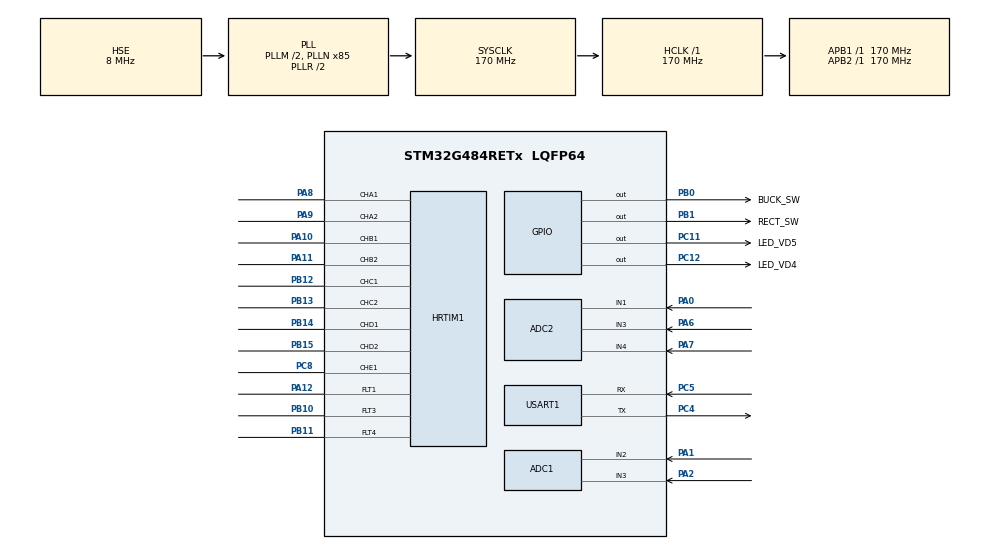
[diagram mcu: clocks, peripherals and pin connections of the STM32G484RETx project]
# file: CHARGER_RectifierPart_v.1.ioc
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NVIC.ADC1_2_IRQn=true\:0\:0\:false\:false\:true\:true\:true
VP_TIM5_VS_ClockSourceINT.Mode=Internal
Dma.HRTIM1_A.4.EventEnable=DISABLE
ADC2.SamplingTime-1\#ChannelRegularConversion=ADC_SAMPLETIME_2CYCLES_5
PB10.Mode=Fault_Enable3
Dma.HRTIM1_A.4.SyncEnable=DISABLE
Dma.USART1_TX.3.MemInc=DMA_MINC_ENABLE
PC12.Signal=GPIO_Output
Dma.USART1_RX.2.Instance=DMA1_Channel2
HRTIM1.CompareUnit2-Output_TA1TA2=HRTIM_COMPAREUNIT_2
PC5.Mode=Asynchronous
HRTIM1.NumberSetSource1-Output_TD1TD2=1
PB13.Signal=HRTIM1_CHC2
Dma.USART1_RX.2.SyncEnable=DISABLE
RCC.SYSCLKSource=RCC_SYSCLKSOURCE_PLLCLK
Dma.HRTIM1_E.1.MemInc=DMA_MINC_ENABLE
Dma.USART1_TX.3.SyncSignalID=NONE
Dma.ADC2.8.EventEnable=DISABLE
NVIC.DMA1_Channel3_IRQn=true\:0\:0\:false\:false\:true\:false\:true
NVIC.HRTIM1_TIME_IRQn=true\:0\:0\:false\:false\:true\:true\:true
HRTIM1.NumberFaultEnable-Output_TD1TD2=3
HRTIM1.DeadTimeInsertion-Output_TC1TC2=HRTIM_TIMDEADTIMEINSERTION_ENABLED
HRTIM1.CompareUnit3-Output_TA1TA2=HRTIM_COMPAREUNIT_3
HRTIM1.NumberResetSource1-Output_TA1TA2=1
NVIC.TIM5_IRQn=true\:0\:0\:false\:false\:true\:true\:true
RCC.APB2TimFreq_Value=170000000
Dma.ADC1.0.Direction=DMA_PERIPH_TO_MEMORY
HRTIM1.SetOutput2_Source1-Output_TC1TC2=HRTIM_OUTPUTSET_TIMPER
ADC1.Channel-2\#ChannelRegularConversion=ADC_CHANNEL_2
Dma.USART1_TX.3.Mode=DMA_NORMAL
Dma.HRTIM1_C.6.Polarity=HAL_DMAMUX_REQ_GEN_RISING
HRTIM1.ResetOutput1_Source1-Output_TA1TA2=HRTIM_OUTPUTRESET_TIMCMP1
Dma.ADC1.0.MemDataAlignment=DMA_MDATAALIGN_WORD
Dma.USART1_RX.2.SignalID=NONE
HRTIM1.NumberDMARequests_TE=1
HRTIM1.NumberDMARequests_TC=1
PB3.Mode=JTAG_5_pins
HRTIM1.NumberDMARequests_TD=1
HRTIM1.NumberDMARequests_TA=1
HRTIM1.NumberDMARequests_TB=1
Dma.USART1_RX.2.SyncRequestNumber=1
RCC.ADC12Freq_Value=170000000
Dma.ADC2.8.SyncSignalID=NONE
Dma.HRTIM1_B.5.SignalID=NONE
Dma.HRTIM1_A.4.SyncRequestNumber=1
Dma.HRTIM1_E.1.Polarity=HAL_DMAMUX_REQ_GEN_RISING
Dma.HRTIM1_C.6.MemInc=DMA_MINC_ENABLE
Dma.HRTIM1_A.4.PeriphDataAlignment=DMA_PDATAALIGN_HALFWORD
PB14.Mode=Output_TD1TD2
Dma.ADC1.0.PeriphInc=DMA_PINC_DISABLE
PB1.GPIO_Label=RECT_SW
NVIC.TIM2_IRQn=true\:0\:0\:false\:false\:true\:true\:true
PA0.Mode=IN1-Single-Ended
Dma.HRTIM1_A.4.MemDataAlignment=DMA_MDATAALIGN_HALFWORD
Dma.HRTIM1_E.1.SyncPolarity=HAL_DMAMUX_SYNC_NO_EVENT
PA8.Signal=HRTIM1_CHA1
Dma.ADC2.8.PeriphInc=DMA_PINC_DISABLE
HRTIM1.NumberFaultEnable-Output_TB1TB2=3
VP_TIM1_VS_ClockSourceINT.Mode=Internal
NVIC.HRTIM1_TIMA_IRQn=true\:0\:0\:false\:false\:true\:true\:true
Dma.USART1_TX.3.Instance=DMA1_Channel3
PA0.Signal=ADC2_IN1
HRTIM1.DeadTimeInsertion-Output_TA1TA2=HRTIM_TIMDEADTIMEINSERTION_ENABLED
Mcu.Package=LQFP64
TIM2.Prescaler=16
PB1.Signal=GPIO_Output
ADC1.OversamplingMode=ENABLE
HRTIM1.ResetOutput1_Source1-Output_TB1TB2=HRTIM_OUTPUTRESET_TIMCMP1
ADC2.Channel-1\#ChannelRegularConversion=ADC_CHANNEL_3
PA10.Signal=HRTIM1_CHB1
Dma.HRTIM1_E.1.PeriphInc=DMA_PINC_DISABLE
Dma.USART1_TX.3.SyncRequestNumber=1
HRTIM1.NumberADCTriggerSource1=1
Dma.HRTIM1_A.4.MemInc=DMA_MINC_ENABLE
HRTIM1.NumberFaultEnable-Output_TC1TC2=3
RCC.APB1TimFreq_Value=170000000
Dma.USART1_RX.2.Polarity=HAL_DMAMUX_REQ_GEN_RISING
HRTIM1.DeadTimeInsertion-Output_TB1TB2=HRTIM_TIMDEADTIMEINSERTION_ENABLED
ADC2.Rank-2\#ChannelRegularConversion=3
PB13.Mode=Output_TC1TC2
NVIC.DMA1_Channel4_IRQn=true\:0\:0\:false\:false\:true\:false\:true
Dma.HRTIM1_B.5.PeriphDataAlignment=DMA_PDATAALIGN_HALFWORD
NVIC.USART1_IRQn=true\:0\:0\:false\:false\:true\:true\:true
PF1-OSC_OUT.Signal=RCC_OSC_OUT
Dma.ADC1.0.EventEnable=DISABLE
Dma.ADC2.8.MemDataAlignment=DMA_MDATAALIGN_WORD
PC4.Mode=Asynchronous
RCC.HSI48_VALUE=48000000
Dma.HRTIM1_A.4.Direction=DMA_MEMORY_TO_PERIPH
Dma.HRTIM1_C.6.PeriphInc=DMA_PINC_DISABLE
NVIC.DMA1_Channel6_IRQn=true\:0\:0\:false\:false\:true\:false\:true
HRTIM1.CompareUnit1-Output_TB1TB2=HRTIM_COMPAREUNIT_1
Dma.ADC2.8.Priority=DMA_PRIORITY_LOW
HRTIM1.CompareUnit2-Output_TC1TC2=HRTIM_COMPAREUNIT_2
Dma.ADC1.0.Instance=DMA1_Channel1
Dma.ADC2.8.SignalID=NONE
HRTIM1.CompareUnit3-Output_TD1TD2=HRTIM_COMPAREUNIT_3
HRTIM1.NumberSetSource1-Output_TB1TB2=1
Dma.ADC1.0.SyncRequestNumber=1
Dma.HRTIM1_E.1.Direction=DMA_MEMORY_TO_PERIPH
Dma.HRTIM1_C.6.Priority=DMA_PRIORITY_LOW
Dma.HRTIM1_E.1.PeriphDataAlignment=DMA_PDATAALIGN_WORD
HRTIM1.Deadtimeconfig-Output_TC1TC2=HRTIM_TIMERINDEX_TIMER_C
HRTIM1.PreloadEnable-Output_TB1TB2=HRTIM_PRELOAD_ENABLED
Dma.HRTIM1_B.5.MemDataAlignment=DMA_MDATAALIGN_HALFWORD
HRTIM1.NumberSetSource2_TC=0
Dma.USART1_RX.2.SyncPolarity=HAL_DMAMUX_SYNC_NO_EVENT
Dma.ADC2.8.RequestNumber=1
Dma.ADC2.8.SyncRequestNumber=1
NVIC.DMA1_Channel8_IRQn=true\:0\:0\:false\:false\:true\:false\:true
PB11.Mode=Fault_Enable4
HRTIM1.PreloadEnable-Output_TA1TA2=HRTIM_PRELOAD_ENABLED
Dma.HRTIM1_D.7.MemInc=DMA_MINC_ENABLE
Dma.HRTIM1_A.4.Polarity=HAL_DMAMUX_REQ_GEN_RISING
Dma.USART1_RX.2.Mode=DMA_CIRCULAR
Dma.ADC1.0.SignalID=NONE
Dma.ADC1.0.Priority=DMA_PRIORITY_LOW
PA9.Signal=HRTIM1_CHA2
Dma.HRTIM1_A.4.SyncSignalID=NONE
HRTIM1.CompareUnit1-Output_TC1TC2=HRTIM_COMPAREUNIT_1
ADC2.OffsetNumber-1\#ChannelRegularConversion=ADC_OFFSET_NONE
PB10.Signal=HRTIM1_FLT3
PB14.Signal=HRTIM1_CHD1
ADC2.OffsetNumber-0\#ChannelRegularConversion=ADC_OFFSET_NONE
Dma.USART1_TX.3.RequestNumber=1
Dma.HRTIM1_C.6.PeriphDataAlignment=DMA_PDATAALIGN_WORD
NVIC.TIM1_BRK_TIM15_IRQn=true\:0\:0\:false\:false\:true\:true\:true
Dma.HRTIM1_C.6.MemDataAlignment=DMA_MDATAALIGN_WORD
NVIC.HRTIM1_Master_IRQn=true\:0\:0\:false\:false\:true\:true\:true
Dma.USART1_RX.2.Priority=DMA_PRIORITY_LOW
ADC2.Channel-2\#ChannelRegularConversion=ADC_CHANNEL_4
NVIC.TIM3_IRQn=true\:0\:0\:false\:false\:true\:true\:true
Dma.HRTIM1_B.5.Direction=DMA_MEMORY_TO_PERIPH
RCC.ADC345Freq_Value=170000000
Dma.USART1_RX.2.Direction=DMA_PERIPH_TO_MEMORY
PA1.Mode=IN2-Single-Ended
Dma.HRTIM1_B.5.SyncRequestNumber=1
HRTIM1.CompareUnit1-Output_TA1TA2=HRTIM_COMPAREUNIT_1
NVIC.HRTIM1_TIMB_IRQn=true\:0\:0\:false\:false\:true\:true\:true
HRTIM1.CompareUnit2-Output_TB1TB2=HRTIM_COMPAREUNIT_2
HRTIM1.CompareUnit3-Output_TC1TC2=HRTIM_COMPAREUNIT_3
ADC1.DMAContinuousRequests=ENABLE
PA13.Mode=JTAG_5_pins
Dma.HRTIM1_B.5.RequestNumber=1
Dma.USART1_RX.2.MemInc=DMA_MINC_ENABLE
Dma.HRTIM1_C.6.Direction=DMA_MEMORY_TO_PERIPH
Dma.USART1_TX.3.Priority=DMA_PRIORITY_LOW
NVIC.HRTIM1_TIMD_IRQn=true\:0\:0\:false\:false\:true\:true\:true
NVIC.TIM1_CC_IRQn=true\:0\:0\:false\:false\:true\:true\:true
PC8.Mode=Output_TE1
ADC2.RightBitShift=ADC_RIGHTBITSHIFT_4
Dma.HRTIM1_D.7.SyncSignalID=NONE
HRTIM1.DeadTimeInsertion-Output_TD1TD2=HRTIM_TIMDEADTIMEINSERTION_ENABLED
ADC1.master=1
ADC2.NbrOfConversionFlag=1
PC12.GPIO_Label=LED_VD4
Dma.ADC1.0.RequestNumber=1
Dma.HRTIM1_D.7.EventEnable=DISABLE
PA11.Signal=HRTIM1_CHB2
Dma.HRTIM1_B.5.Mode=DMA_NORMAL
NVIC.DMA2_Channel1_IRQn=true\:0\:0\:false\:false\:true\:false\:true
ProjectManager.HeapSize=0x200
ADC2.OversamplingMode=ENABLE
VP_TIM4_VS_ClockSourceINT.Mode=Internal
Dma.HRTIM1_E.1.SignalID=NONE
NVIC.PriorityGroup=NVIC_PRIORITYGROUP_4
HRTIM1.NumberSetSource1-Output_TC1TC2=1
ADC1.EnableRegularConversion=ENABLE
Dma.USART1_TX.3.SignalID=NONE
PA8.Mode=Output_TA1TA2
Dma.HRTIM1_B.5.Instance=DMA1_Channel5
NVIC.DMA1_Channel1_IRQn=true\:0\:0\:false\:false\:true\:false\:true
PF0-OSC_IN.Signal=RCC_OSC_IN
Dma.HRTIM1_D.7.PeriphInc=DMA_PINC_DISABLE
Dma.USART1_TX.3.SyncPolarity=HAL_DMAMUX_SYNC_NO_EVENT
Dma.USART1_TX.3.EventEnable=DISABLE
Dma.HRTIM1_D.7.Polarity=HAL_DMAMUX_REQ_GEN_RISING
Dma.HRTIM1_A.4.SyncPolarity=HAL_DMAMUX_SYNC_NO_EVENT
HRTIM1.CompareUnit3-Output_TB1TB2=HRTIM_COMPAREUNIT_3
PB0.Signal=GPIO_Output
Dma.HRTIM1_A.4.Priority=DMA_PRIORITY_LOW
TIM1.PeriodNoDither=499
Dma.HRTIM1_E.1.Priority=DMA_PRIORITY_LOW
Mcu.Family=STM32G4
HRTIM1.PreloadEnable-Output_TD1TD2=HRTIM_PRELOAD_ENABLED
Dma.USART1_RX.2.EventEnable=DISABLE
ADC1.RightBitShift=ADC_RIGHTBITSHIFT_4
PA6.Mode=IN3-Single-Ended
ADC2.OffsetNumber-2\#ChannelRegularConversion=ADC_OFFSET_NONE
RCC.CortexFreq_Value=170000000
HRTIM1.DMARequests1-Output_TA1TA2=HRTIM_TIM_DMA_UPD
NVIC.DMA1_Channel5_IRQn=true\:0\:0\:false\:false\:true\:false\:true
ADC1.ContinuousConvMode=ENABLE
ADC2.Channel-0\#ChannelRegularConversion=ADC_CHANNEL_1
Dma.ADC1.0.Polarity=HAL_DMAMUX_REQ_GEN_RISING
Dma.USART1_TX.3.MemDataAlignment=DMA_MDATAALIGN_BYTE
Dma.HRTIM1_A.4.SignalID=NONE
Dma.HRTIM1_E.1.SyncEnable=DISABLE
VP_IWDG_VS_IWDG.Mode=IWDG_Activate
Dma.USART1_TX.3.Direction=DMA_MEMORY_TO_PERIPH
Dma.HRTIM1_D.7.Instance=DMA1_Channel8
HRTIM1.ResetOutput2_Source1-Output_TC1TC2=HRTIM_OUTPUTRESET_TIMCMP1
PA11.Mode=Output_TB1TB2
PB0.GPIO_Label=BUCK_SW
HRTIM1.FaultEnable_Source2-Output_TD1TD2=HRTIM_TIMFAULTENABLE_FAULT3
PB11.Signal=HRTIM1_FLT4
Dma.USART1_RX.2.SyncSignalID=NONE
PB15.Signal=HRTIM1_CHD2
Dma.HRTIM1_E.1.RequestNumber=1
ProjectManager.StackSize=0x400
Dma.USART1_TX.3.SyncEnable=DISABLE
ADC2.Ratio=ADC_OVERSAMPLING_RATIO_16
PA12.Signal=HRTIM1_FLT1
TIM1.Prescaler=16
HRTIM1.SetOutput1_Source1-Output_TA1TA2=HRTIM_OUTPUTSET_TIMPER
ADC2.DMAContinuousRequests=ENABLE
Dma.HRTIM1_A.4.RequestNumber=1
ADC1.Channel-3\#ChannelRegularConversion=ADC_CHANNEL_3
RCC.HCLKFreq_Value=170000000
Dma.ADC2.8.Polarity=HAL_DMAMUX_REQ_GEN_RISING
Dma.HRTIM1_A.4.Instance=DMA1_Channel4
HRTIM1.ResetOutput1_Source1-Output_TD1TD2=HRTIM_OUTPUTRESET_TIMCMP1
RCC.AHBFreq_Value=170000000
NVIC.HRTIM1_FLT_IRQn=true\:0\:0\:false\:false\:true\:true\:true
Dma.HRTIM1_D.7.SyncRequestNumber=1
Dma.HRTIM1_D.7.SignalID=NONE
Dma.ADC2.8.MemInc=DMA_MINC_ENABLE
RCC.HSE_VALUE=8000000
Dma.USART1_TX.3.Polarity=HAL_DMAMUX_REQ_GEN_RISING
PA15.Mode=JTAG_5_pins
HRTIM1.NumberSetSource1-Output_TA1TA2=1
NVIC.TIM1_TRG_COM_TIM17_IRQn=true\:0\:0\:false\:false\:true\:true\:true
TIM2.PeriodNoDither=499
ADC1.Rank-2\#ChannelRegularConversion=1
PB4.Mode=JTAG_5_pins
Dma.HRTIM1_B.5.SyncPolarity=HAL_DMAMUX_SYNC_NO_EVENT
PA14.Mode=JTAG_5_pins
TIM3.Prescaler=169
Dma.USART1_TX.3.PeriphInc=DMA_PINC_DISABLE
HRTIM1.HRTIMInterruptResquests3=HRTIM_IT_FLT4
PC11.GPIO_Label=LED_VD5
Dma.HRTIM1_D.7.Priority=DMA_PRIORITY_LOW
HRTIM1.HRTIMInterruptResquests1=HRTIM_IT_FLT1
HRTIM1.HRTIMInterruptResquests2=HRTIM_IT_FLT3
HRTIM1.FaultEnable_Source1-Output_TD1TD2=HRTIM_TIMFAULTENABLE_FAULT1
VP_SYS_VS_DBSignals.Mode=DisableDeadBatterySignals
HRTIM1.DMARequests1-Output_TB1TB2=HRTIM_TIM_DMA_UPD
HRTIM1.FaultEnable_Source3-Output_TC1TC2=HRTIM_TIMFAULTENABLE_FAULT4
Dma.HRTIM1_D.7.SyncPolarity=HAL_DMAMUX_SYNC_NO_EVENT
Dma.ADC2.8.Instance=DMA2_Channel1
Dma.HRTIM1_B.5.SyncEnable=DISABLE
Dma.HRTIM1_D.7.MemDataAlignment=DMA_MDATAALIGN_WORD
HRTIM1.RepetitionCounter-Output_TA1TA2=0x00
PA6.Signal=ADC2_IN3
PB12.Mode=Output_TC1TC2
HRTIM1.CompareUnit2-Output_TD1TD2=HRTIM_COMPAREUNIT_2
HRTIM1.FaultEnable_Source1-Output_TB1TB2=HRTIM_TIMFAULTENABLE_FAULT1
HRTIM1.FaultEnable_Source2-Output_TC1TC2=HRTIM_TIMFAULTENABLE_FAULT3
HRTIM1.FaultEnable_Source3-Output_TD1TD2=HRTIM_TIMFAULTENABLE_FAULT4
PA15.Signal=SYS_JTDI
ADC2.SamplingTime-0\#ChannelRegularConversion=ADC_SAMPLETIME_2CYCLES_5
Dma.HRTIM1_E.1.SyncRequestNumber=1
TIM3.PeriodNoDither=999
HRTIM1.ResetOutput1_Source1-Output_TC1TC2=HRTIM_OUTPUTRESET_TIMCMP1
Dma.HRTIM1_B.5.Polarity=HAL_DMAMUX_REQ_GEN_RISING
HRTIM1.CompareUnit1-Output_TD1TD2=HRTIM_COMPAREUNIT_1
Dma.HRTIM1_C.6.Mode=DMA_CIRCULAR
ADC2.SamplingTime-2\#ChannelRegularConversion=ADC_SAMPLETIME_2CYCLES_5
ADC2.NbrOfConversion=3
Dma.Request2=USART1_RX
Dma.Request1=HRTIM1_E
Dma.Request4=HRTIM1_A
Dma.Request3=USART1_TX
Dma.Request6=HRTIM1_C
Dma.Request5=HRTIM1_B
Dma.Request8=ADC2
PC5.Signal=USART1_RX
Dma.Request7=HRTIM1_D
Dma.HRTIM1_B.5.MemInc=DMA_MINC_ENABLE
Dma.HRTIM1_C.6.RequestNumber=1
HRTIM1.FaultEnable_Source1-Output_TC1TC2=HRTIM_TIMFAULTENABLE_FAULT1
ADC2.Rank-0\#ChannelRegularConversion=1
Dma.HRTIM1_E.1.MemDataAlignment=DMA_MDATAALIGN_WORD
PF1-OSC_OUT.Mode=HSE-External-Oscillator
Dma.Request0=ADC1
HRTIM1.NumberResetSource2_TC=0
HRTIM1.PreloadEnable-Output_TC1TC2=HRTIM_PRELOAD_ENABLED
VP_TIM3_VS_ClockSourceINT.Mode=Internal
Dma.USART1_RX.2.MemDataAlignment=DMA_MDATAALIGN_BYTE
PB4.Signal=SYS_JTRST
Dma.HRTIM1_A.4.Mode=DMA_NORMAL
Dma.HRTIM1_D.7.Direction=DMA_MEMORY_TO_PERIPH
Dma.HRTIM1_E.1.Mode=DMA_CIRCULAR
RCC.PLLSourceVirtual=RCC_PLLSOURCE_HSE
HRTIM1.NumberFaultEnable-Output_TA1TA2=3
Dma.ADC2.8.Mode=DMA_CIRCULAR
Dma.HRTIM1_C.6.SignalID=NONE
PA7.Mode=IN4-Single-Ended
HRTIM1.FaultLevel1-Output_TA1TA2=HRTIM_OUTPUTFAULTLEVEL_INACTIVE
PA10.Mode=Output_TB1TB2
PC11.Signal=GPIO_Output
TIM4.PeriodNoDither=999
ADC1.OffsetNumber-3\#ChannelRegularConversion=ADC_OFFSET_NONE
PC8.Signal=HRTIM1_CHE1
Dma.HRTIM1_B.5.PeriphInc=DMA_PINC_DISABLE
PC4.Signal=USART1_TX
Dma.HRTIM1_C.6.EventEnable=DISABLE
RCC.EXTERNAL_CLOCK_VALUE=12288000
HRTIM1.FaultEnable_Source2-Output_TA1TA2=HRTIM_TIMFAULTENABLE_FAULT3
Dma.HRTIM1_C.6.SyncEnable=DISABLE
Dma.HRTIM1_E.1.SyncSignalID=NONE
Dma.USART1_RX.2.PeriphInc=DMA_PINC_DISABLE
ADC1.SamplingTime-2\#ChannelRegularConversion=ADC_SAMPLETIME_2CYCLES_5
Dma.HRTIM1_D.7.RequestNumber=1
HRTIM1.PrescalerRatio_TE=HRTIM_PRESCALERRATIO_MUL16
HRTIM1.SetOutput1_Source1-Output_TB1TB2=HRTIM_OUTPUTSET_TIMPER
USART1.VirtualMode-Asynchronous=VM_ASYNC
PA13.Signal=SYS_JTMS-SWDIO
Dma.HRTIM1_C.6.SyncSignalID=NONE
Dma.ADC1.0.PeriphDataAlignment=DMA_PDATAALIGN_WORD
HRTIM1.DMARequests1-Output_TC1TC2=HRTIM_TIM_DMA_UPD
PA9.Mode=Output_TA1TA2
HRTIM1.FaultEnable_Source1-Output_TA1TA2=HRTIM_TIMFAULTENABLE_FAULT1
Dma.HRTIM1_B.5.SyncSignalID=NONE
NVIC.DMA1_Channel2_IRQn=true\:0\:0\:false\:false\:true\:false\:true
ProjectManager.TargetToolchain=STM32CubeIDE
Dma.ADC1.0.Mode=DMA_CIRCULAR
Dma.HRTIM1_C.6.Instance=DMA1_Channel7
HRTIM1.FaultEnable_Source2-Output_TB1TB2=HRTIM_TIMFAULTENABLE_FAULT3
Dma.ADC1.0.SyncSignalID=NONE
Dma.USART1_RX.2.PeriphDataAlignment=DMA_PDATAALIGN_BYTE
Dma.USART1_TX.3.PeriphDataAlignment=DMA_PDATAALIGN_BYTE
HRTIM1.NumberResetSource1-Output_TD1TD2=1
RCC.USBFreq_Value=170000000
ADC1.Ratio=ADC_OVERSAMPLING_RATIO_16
TIM4.Prescaler=169
RCC.LSE_VALUE=32768
PA1.Signal=ADC1_IN2
PF0-OSC_IN.Mode=HSE-External-Oscillator
HRTIM1.FaultEnable_Source3-Output_TB1TB2=HRTIM_TIMFAULTENABLE_FAULT4
Dma.HRTIM1_E.1.Instance=DMA1_Channel6
HRTIM1.ADCTrigger_Id1=HRTIM_ADCTRIGGER_1
board=custom
Dma.ADC2.8.SyncPolarity=HAL_DMAMUX_SYNC_NO_EVENT
HRTIM1.FaultEnable_Source3-Output_TA1TA2=HRTIM_TIMFAULTENABLE_FAULT4
RCC.VCOOutputFreq_Value=340000000
PB15.Mode=Output_TD1TD2
Dma.ADC1.0.SyncPolarity=HAL_DMAMUX_SYNC_NO_EVENT
HRTIM1.FaultLevel2-Output_TA1TA2=HRTIM_OUTPUTFAULTLEVEL_INACTIVE
RCC.APB2Freq_Value=170000000
Dma.ADC2.8.PeriphDataAlignment=DMA_PDATAALIGN_WORD
VP_TIM2_VS_ClockSourceINT.Mode=Internal
Dma.HRTIM1_B.5.Priority=DMA_PRIORITY_LOW
Dma.HRTIM1_C.6.SyncPolarity=HAL_DMAMUX_SYNC_NO_EVENT
HRTIM1.SetOutput1_Source1-Output_TD1TD2=HRTIM_OUTPUTSET_TIMPER
Dma.HRTIM1_D.7.Mode=DMA_CIRCULAR
ADC1.NbrOfConversion=2
ADC1.OffsetNumber-2\#ChannelRegularConversion=ADC_OFFSET_NONE
Mcu.Name=STM32G484RETx
PA2.Signal=ADC1_IN3
Dma.HRTIM1_B.5.EventEnable=DISABLE
TIM5.PeriodNoDither=999
HRTIM1.NumberResetSource1-Output_TC1TC2=1
PB3.Signal=SYS_JTDO-SWO
RCC.SYSCLKFreq_VALUE=170000000
PA12.Mode=Fault_Enable1
HRTIM1.NumberResetSource1-Output_TB1TB2=1
ADC1.SamplingTime-3\#ChannelRegularConversion=ADC_SAMPLETIME_2CYCLES_5
ADC1.Rank-3\#ChannelRegularConversion=2
Dma.ADC2.8.Direction=DMA_PERIPH_TO_MEMORY
TIM5.Prescaler=169
Dma.HRTIM1_D.7.SyncEnable=DISABLE
Dma.HRTIM1_A.4.PeriphInc=DMA_PINC_DISABLE
Dma.ADC1.0.SyncEnable=DISABLE
Dma.ADC1.0.MemInc=DMA_MINC_ENABLE
PA14.Signal=SYS_JTCK-SWCLK
VP_WWDG_VS_WWDG.Mode=WWDG_Activate
RCC.HSI_VALUE=16000000
NVIC.TIM1_UP_TIM16_IRQn=true\:0\:0\:false\:false\:true\:true\:true
ADC1.NbrOfConversionFlag=1
RCC.PLLM=RCC_PLLM_DIV2
HRTIM1.DMARequests1-Output_TD1TD2=HRTIM_TIM_DMA_UPD
RCC.PLLN=85
ADC2.Rank-1\#ChannelRegularConversion=2
PA2.Mode=IN3-Single-Ended
Dma.ADC2.8.SyncEnable=DISABLE
NVIC.FPU_IRQn=true\:0\:0\:false\:false\:true\:true\:false
NVIC.DMA1_Channel7_IRQn=true\:0\:0\:false\:false\:true\:false\:true
NVIC.HRTIM1_TIMC_IRQn=true\:0\:0\:false\:false\:true\:true\:true
NVIC.TIM4_IRQn=true\:0\:0\:false\:false\:true\:true\:true
RCC.APB1Freq_Value=170000000
HRTIM1.SetOutput1_Source1-Output_TC1TC2=HRTIM_OUTPUTSET_TIMPER
HRTIM1.Periode_TA=28936
HRTIM1.Periode_TB=28936
Dma.HRTIM1_D.7.PeriphDataAlignment=DMA_PDATAALIGN_WORD
HRTIM1.Periode_TC=28936
Dma.HRTIM1_C.6.SyncRequestNumber=1
HRTIM1.Periode_TD=28936
PB12.Signal=HRTIM1_CHC1
Dma.HRTIM1_E.1.EventEnable=DISABLE
HRTIM1.Periode_TE=38857
Dma.USART1_RX.2.RequestNumber=1
PA7.Signal=ADC2_IN4

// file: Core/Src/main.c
/* USER CODE BEGIN Header */
/**
  ******************************************************************************
  * @file           : main.c
  * @brief          : Main program body
  ******************************************************************************
  * @attention
  *
  * <h2><center>&copy; Copyright (c) 2021 STMicroelectronics.
  * All rights reserved.</center></h2>
  *
  * This software component is licensed by ST under BSD 3-Clause license,
  * the "License"; You may not use this file except in compliance with the
  * License. You may obtain a copy of the License at:
  *                        opensource.org/licenses/BSD-3-Clause
  *
  ******************************************************************************
  */
/* USER CODE END Header */
#include "main.h"
#include "adc.h"
#include "dma.h"
#include "hrtim.h"
#include "hrtim.h"
#include "iwdg.h"
#include "tim.h"
#include "usart.h"
#include "wwdg.h"
#include "gpio.h"

/* USER CODE BEGIN Includes */

#include "Application_Conf.h"
#include "DPC_Timeout.h"
#include "ControlFunc.h"
#include "PWM_Functions.h"
/* USER CODE END Includes */

/* USER CODE BEGIN PD */
#define LoWord(param) ((unsigned *)&param)[0]
#define HiWord(param) ((unsigned *)&param)[1]

#define Lowest(param) ((uint8_t *)&param)[0]
#define Lo(param) 	  ((uint8_t *)&param)[1]
#define Hi(param) 	  ((uint8_t *)&param)[2]
#define Highest(param)((uint8_t *)&param)[3]
/* USER CODE END PD */

/* USER CODE BEGIN PV */
PID_Control_Struct PID_CONF_StartUp;

PID_Control_Struct UDC_LIMIT_PID;
PID_Control_Struct IDC_LIMIT_PID;

static DMA_PWMDUTY_STRUCT DMA_HRTIM_SRC;
static DMA_UART_STRUCT DMA_UART_SRC;

extern RAW_ADC_Struct Raw_ADC;
extern RAW_ADC_Struct Raw_DMA;

ADC_Conf_TypeDef ADC_Conf;
Cooked_ADC_Struct VDC_ADC_IN_PHY;

uint16_t StartUp;
float PID_Result;
float PID_Result_V;
float PID_Result_I;
float PWM;
uint32_t p_ADC1_Data[ADC1_CHs];
uint32_t p_ADC2_Data[ADC2_CHs];

volatile FlagStatus Calc_Start;
FlagStatus DMA_FLAG;
/* USER CODE END PV */

void SystemClock_Config(void);

int main(void)
{

  /* MCU Configuration--------------------------------------------------------*/

  /* Reset of all peripherals, Initializes the Flash interface and the Systick. */
  HAL_Init();

  /* Configure the system clock */
  SystemClock_Config();

  /* Initialize all configured peripherals */
  MX_GPIO_Init();
  MX_DMA_Init();
  MX_ADC1_Init();
  MX_ADC2_Init();
  MX_HRTIM1_Init();
  MX_TIM1_Init();
  MX_TIM2_Init();
  MX_TIM3_Init();
  MX_TIM4_Init();
  MX_TIM5_Init();
  MX_USART1_UART_Init();
  //MX_IWDG_Init();
  //MX_WWDG_Init();
  /* USER CODE BEGIN 2 */

  PID_Init(&PID_CONF_StartUp, STUP_PID_K_P,STUP_PID_K_I,STUP_PID_K_D, BUCK_Math_Frequency, STUP_PID_W_F, STUP_PID_SAT_UP,
		  STUP_PID_SAT_DOWN, STUP_PID_HIST, STUP_PID_ANTIWINDUP, STUP_PID_BASE_VAL);
  PID_Init(&UDC_LIMIT_PID, V_LIM_PID_K_P,V_LIM_PID_K_I,V_LIM_PID_K_D, BUCK_Math_Frequency, V_LIM_PID_W_F, V_LIM_PID_SAT_UP,
		  V_LIM_PID_SAT_DOWN, V_LIM_PID_HIST, V_LIM_PID_ANTIWINDUP, V_LIM_PID_BASE_VAL);
  PID_Init(&IDC_LIMIT_PID, I_LIM_PID_K_P,I_LIM_PID_K_I,I_LIM_PID_K_D, BUCK_Math_Frequency, I_LIM_PID_W_F, I_LIM_PID_SAT_UP,
		  I_LIM_PID_SAT_DOWN, I_LIM_PID_HIST, I_LIM_PID_ANTIWINDUP, I_LIM_PID_BASE_VAL);

  ADC_Gain_Init(&ADC_Conf,G_VAC,B_VAC,G_IAC,B_IAC,G_VDC,B_VDC,G_IDC,B_IDC);

  //HAL_ADC_Start_DMA(&hadc1, uint32_t* pData, uint32_t Length);
  HAL_ADC_Start_DMA(&hadc1, p_ADC1_Data, ADC1_MA_PERIOD_RAW*ADC1_CHs);
  HAL_ADC_Start_DMA(&hadc2, p_ADC2_Data, ADC2_MA_PERIOD_RAW*ADC2_CHs);

  //HRTIM_PWM_Init(&DMA_HRTIM_SRC);

  HAL_TIM_Base_Start_IT(&htim1);
  HAL_TIM_Base_Start_IT(&htim2);
  HAL_TIM_Base_Start_IT(&htim3);
  HAL_TIM_Base_Start_IT(&htim4);

  DPC_TO_Init();

	//HAL_HRTIM_WaveformCountStart_DMA(&hhrtim1, HRTIM_TIMERID_TIMER_A);
	HAL_HRTIM_WaveformCountStart(&hhrtim1, HRTIM_TIMERID_TIMER_A);
	HAL_HRTIM_WaveformOutputStart(&hhrtim1, HRTIM_OUTPUT_TA1+HRTIM_OUTPUT_TA2);
	//HAL_HRTIM_WaveformCountStart_DMA(&hhrtim1, HRTIM_TIMERID_TIMER_B);
	HAL_HRTIM_WaveformCountStart(&hhrtim1, HRTIM_TIMERID_TIMER_B);
	HAL_HRTIM_WaveformOutputStart(&hhrtim1, HRTIM_OUTPUT_TB1+HRTIM_OUTPUT_TB2);
	HAL_HRTIM_WaveformCountStart_DMA(&hhrtim1, HRTIM_TIMERID_TIMER_C);
	HAL_HRTIM_WaveformOutputStart(&hhrtim1, HRTIM_OUTPUT_TC1+HRTIM_OUTPUT_TC2);
	HAL_HRTIM_WaveformCountStart_DMA(&hhrtim1, HRTIM_TIMERID_TIMER_D);
	HAL_HRTIM_WaveformOutputStart(&hhrtim1, HRTIM_OUTPUT_TD1+HRTIM_OUTPUT_TD2);

	DPC_TO_Set(1,1000);
  /* USER CODE END 2 */

  /* Infinite loop */
  while (1)
  {

    /* USER CODE BEGIN 3 */
	  if (DPC_TO_Check(1)==TO_OUT_TOOK){
		  HAL_GPIO_TogglePin(GPIOC, LED_VD5_Pin);
	  	  DPC_TO_Set(1,500);
  	  }

	  HAL_ADC_Start_DMA(&hadc1, p_ADC1_Data, ADC1_MA_PERIOD_RAW*ADC1_CHs);
	 //HAL_UART_Transmit_DMA(&huart1, &DMA_UART_SRC.Transmit[0], UART_PACKAGE_SIZE);
	 //HAL_UART_Receive_DMA(&huart1, &DMA_UART_SRC.Received[0], UART_PACKAGE_SIZE);

//	  if(Calc_Start==SET){
//		  DATA_Processing();
//		  ADC_MA_VAL_Collection();
//		  ADC2Phy_VDC_ProcessData(&ADC_Conf,(RAW_ADC_Struct*)Read_Volt_DC(), &VDC_ADC_IN_PHY);
//		  ADC2Phy_IDC_ProcessData(&ADC_Conf,(RAW_ADC_Struct*)Read_Volt_DC(), &VDC_ADC_IN_PHY);
//
//		  	if (((float)VDC_ADC_IN_PHY.Vdc) > BUCK_VDC_REF_LOW_REF){
//		  		StartUp=1;
//		  	}
//		  	else if (((float)VDC_ADC_IN_PHY.Vdc) < 20){
//		  		StartUp=0;
//		  		PID_CONF_StartUp.resetPI=SET;
//		  	};
//
//			if (StartUp==0){
//				UDC_LIMIT_PID.resetPI = SET;
//				IDC_LIMIT_PID.resetPI = SET;
//				PID_Result_V = PID(BUCK_VDC_REF, VDC_ADC_IN_PHY.Vdc, &PID_CONF_StartUp);
//				PWM = PID_Result_V/BUCK_VAC_REF;
//				IDC_LIMIT_PID.resetPI = SET;
//				UDC_LIMIT_PID.resetPI = SET;
//			}
//			else if (StartUp==1){
//				//PID_Result_V = Buck_Control(&Voltage_PID_CONF,&Current_PID_CONF,BUCK_VDC_REF, (float)(VDC_ADC_IN_PHY.Vdc/* - PID_Result*/), VDC_ADC_IN_PHY.Idc);
//				PID_Result_V = PID(BUCK_VDC_REF, VDC_ADC_IN_PHY.Vdc, &UDC_LIMIT_PID);
//				PID_Result_I = PID(BUCK_IDC_LIM, VDC_ADC_IN_PHY.Idc, &IDC_LIMIT_PID);
//
//				if (PID_Result_V<=PID_Result_I){
//					PWM = PID_Result_V/BUCK_VAC_REF;
//				}
//				else if (PID_Result_V>PID_Result_I){
//					PWM = PID_Result_I/BUCK_VAC_REF;
//					//UDC_LIMIT_PID.resetPI = SET;
//				}
//				PID_CONF_StartUp.resetPI = SET;
//			}
//			//BUCK_PWM_Processing(PWM, &BUCK_Tim1, &BUCK_PWM_SRC);
//
//
//			PWM_DUTY_Processing (&DMA_HRTIM_SRC, HRTIM_TIMERID_TIMER_A , 1000);
//			PWM_DUTY_Processing (&DMA_HRTIM_SRC, HRTIM_TIMERID_TIMER_B , 1000);
//			PWM_DUTY_Processing (&DMA_HRTIM_SRC, HRTIM_TIMERID_TIMER_C , 1000);
//			PWM_DUTY_Processing (&DMA_HRTIM_SRC, HRTIM_TIMERID_TIMER_D , 1000);
//
//
//			if (VDC_ADC_IN_PHY.Vdc>=BUCK_VDC_OV){
////				HAL_TIMEx_PWMN_Stop_DMA(&BUCK_Tim1, BUCK_Tim1_PWM_CH);
//				HAL_HRTIM_WaveformCountStop(&hhrtim1, HRTIM_TIMERID_TIMER_A);
//				HAL_HRTIM_WaveformCountStop(&hhrtim1, HRTIM_TIMERID_TIMER_B);
//				HAL_HRTIM_WaveformCountStop(&hhrtim1, HRTIM_TIMERID_TIMER_C);
//				HAL_HRTIM_WaveformCountStop(&hhrtim1, HRTIM_TIMERID_TIMER_D);
//
//			}
//			else if (VDC_ADC_IN_PHY.Vdc <= BUCK_VDC_REF_LOW_REF){
////				HAL_TIMEx_PWMN_Start_DMA(&BUCK_Tim1, BUCK_Tim1_PWM_CH, &BUCK_PWM_SRC.PWM_A, 1);
////				HAL_HRTIM_WaveformCountStart_DMA(&hhrtim1, HRTIM_TIMERID_TIMER_A);
////				HAL_HRTIM_WaveformCountStart_DMA(&hhrtim1, HRTIM_TIMERID_TIMER_B);
////				HAL_HRTIM_WaveformCountStart_DMA(&hhrtim1, HRTIM_TIMERID_TIMER_C);
////				HAL_HRTIM_WaveformCountStart_DMA(&hhrtim1, HRTIM_TIMERID_TIMER_D);
//
//				HAL_HRTIM_WaveformCounterStart_DMA(&hhrtim1, HRTIM_TIMERID_TIMER_A);
//				HAL_HRTIM_WaveformCounterStart_DMA(&hhrtim1, HRTIM_TIMERID_TIMER_B);
//				HAL_HRTIM_WaveformCounterStart_DMA(&hhrtim1, HRTIM_TIMERID_TIMER_C);
//				HAL_HRTIM_WaveformCounterStart_DMA(&hhrtim1, HRTIM_TIMERID_TIMER_D);
//				HAL_HRTIM_WaveformCountStart_IT(&hhrtim1, HRTIM_TIMERID_TIMER_A);
//				HAL_HRTIM_WaveformCountStart_IT(&hhrtim1, HRTIM_TIMERID_TIMER_B);
//				HAL_HRTIM_WaveformCountStart_IT(&hhrtim1, HRTIM_TIMERID_TIMER_C);
//				HAL_HRTIM_WaveformCountStart_IT(&hhrtim1, HRTIM_TIMERID_TIMER_D);
//				HAL_HRTIM_WaveformOutputStart(&hhrtim1, HRTIM_OUTPUT_TA1);
//				HAL_HRTIM_WaveformOutputStart(&hhrtim1, HRTIM_OUTPUT_TB1);
//				HAL_HRTIM_WaveformOutputStart(&hhrtim1, HRTIM_OUTPUT_TC1);
//				HAL_HRTIM_WaveformOutputStart(&hhrtim1, HRTIM_OUTPUT_TD1);
//			}
//			Calc_Start = RESET;
//	  }
  }
  /* USER CODE END 3 */
}

void SystemClock_Config(void)
{
  RCC_OscInitTypeDef RCC_OscInitStruct = {0};
  RCC_ClkInitTypeDef RCC_ClkInitStruct = {0};
  RCC_PeriphCLKInitTypeDef PeriphClkInit = {0};

  /** Configure the main internal regulator output voltage
  */
  HAL_PWREx_ControlVoltageScaling(PWR_REGULATOR_VOLTAGE_SCALE1_BOOST);
  /** Initializes the RCC Oscillators according to the specified parameters
  * in the RCC_OscInitTypeDef structure.
  */
  RCC_OscInitStruct.OscillatorType = RCC_OSCILLATORTYPE_LSI|RCC_OSCILLATORTYPE_HSE;
  RCC_OscInitStruct.HSEState = RCC_HSE_ON;
  RCC_OscInitStruct.LSIState = RCC_LSI_ON;
  RCC_OscInitStruct.PLL.PLLState = RCC_PLL_ON;
  RCC_OscInitStruct.PLL.PLLSource = RCC_PLLSOURCE_HSE;
  RCC_OscInitStruct.PLL.PLLM = RCC_PLLM_DIV2;
  RCC_OscInitStruct.PLL.PLLN = 85;
  RCC_OscInitStruct.PLL.PLLP = RCC_PLLP_DIV2;
  RCC_OscInitStruct.PLL.PLLQ = RCC_PLLQ_DIV2;
  RCC_OscInitStruct.PLL.PLLR = RCC_PLLR_DIV2;
  if (HAL_RCC_OscConfig(&RCC_OscInitStruct) != HAL_OK)
  {
    Error_Handler();
  }
  /** Initializes the CPU, AHB and APB buses clocks
  */
  RCC_ClkInitStruct.ClockType = RCC_CLOCKTYPE_HCLK|RCC_CLOCKTYPE_SYSCLK
                              |RCC_CLOCKTYPE_PCLK1|RCC_CLOCKTYPE_PCLK2;
  RCC_ClkInitStruct.SYSCLKSource = RCC_SYSCLKSOURCE_PLLCLK;
  RCC_ClkInitStruct.AHBCLKDivider = RCC_SYSCLK_DIV1;
  RCC_ClkInitStruct.APB1CLKDivider = RCC_HCLK_DIV1;
  RCC_ClkInitStruct.APB2CLKDivider = RCC_HCLK_DIV1;

  if (HAL_RCC_ClockConfig(&RCC_ClkInitStruct, FLASH_LATENCY_4) != HAL_OK)
  {
    Error_Handler();
  }
  /** Initializes the peripherals clocks
  */
  PeriphClkInit.PeriphClockSelection = RCC_PERIPHCLK_USART1|RCC_PERIPHCLK_ADC12;
  PeriphClkInit.Usart1ClockSelection = RCC_USART1CLKSOURCE_PCLK2;
  PeriphClkInit.Adc12ClockSelection = RCC_ADC12CLKSOURCE_SYSCLK;
  if (HAL_RCCEx_PeriphCLKConfig(&PeriphClkInit) != HAL_OK)
  {
    Error_Handler();
  }
}

/* USER CODE BEGIN 4 */
void HAL_UART_RxCpltCallback(UART_HandleTypeDef *huart){
	if (huart->Instance == USART1 ){

	}
}

void HAL_TIM_PeriodElapsedCallback(TIM_HandleTypeDef *htim)
{
	if (htim->Instance == TIM1){
		//20kHz
		Calc_Start = SET;
	}
	else if (htim->Instance == TIM2){
		//20kHz
	}
	if (htim->Instance == TIM3){
		//1kHz
		TimeoutMng();
	}
	else if (htim ->Instance == TIM4){
		//1kHz

	}
}

void HAL_HRTIM_Fault1Callback(HRTIM_HandleTypeDef *hhrtim){

}
void HAL_HRTIM_Fault3Callback(HRTIM_HandleTypeDef *hhrtim){

}
void HAL_HRTIM_Fault4Callback(HRTIM_HandleTypeDef *hhrtim){

}

void HAL_ADC_ConvCpltCallback(ADC_HandleTypeDef* hadc){
	if (hadc->Instance == ADC1){
		DATA_Acquisition_from_DMA(p_ADC1_Data,1);
	}
	else if (hadc->Instance == ADC2){
		DATA_Acquisition_from_DMA(p_ADC2_Data,2);
	}
}

//void ADC_DMAConvCplt(DMA_HandleTypeDef *hdma){
//	if (hdma->Instance == DMA1_Channel1){
//
//	}
//}

/* USER CODE END 4 */

void Error_Handler(void)
{
  __disable_irq();
  while (1)
  {
  }
}

/************************ (C) COPYRIGHT STMicroelectronics *****END OF FILE****/
